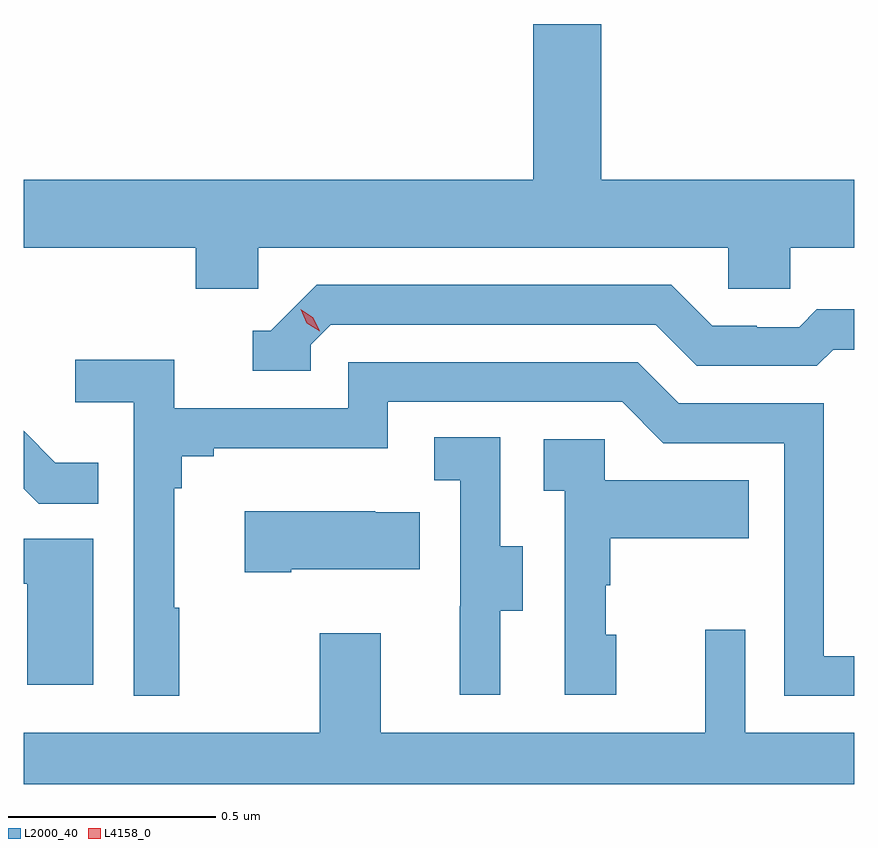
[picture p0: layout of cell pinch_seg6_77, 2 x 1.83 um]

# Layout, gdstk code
import gdstk
lib = gdstk.Library(unit=1e-6, precision=1e-09)
def P(c, l, *ps):  # polygons
    for p in ps: c.add(gdstk.Polygon(p, *l))
L2000_40 = (2000, 40)
L4158_0 = (4158, 0)

pinch_seg6_77 = lib.new_cell('pinch_seg6_77')
P(pinch_seg6_77, L2000_40, [(931.578,930.02),(932.709,930.02),(932.709,929.922),(932.859,929.922),(932.859,930.02),(933.013,930.02),(933.013,930.184),(932.404,930.184),(932.404,930.559),(932.24,930.559),(932.24,930.184),(931.013,930.184),(931.013,930.02),(931.427,930.02),(931.427,929.922),(931.578,929.922)],
  [(931.704,929.787),(931.752,929.835),(932.535,929.835),(932.634,929.736),(932.923,929.736),(932.962,929.775),(933.013,929.775),(933.013,929.872),(932.923,929.872),(932.881,929.829),(932.778,929.829),(932.778,929.832),(932.671,929.832),(932.572,929.931),(931.719,929.931),(931.608,929.82),(931.565,929.82),(931.565,929.724),(931.704,929.724)],
  [(931.387,929.153),(931.375,929.153),(931.375,929.441),(931.394,929.441),(931.394,929.518),(931.471,929.518),(931.471,929.537),(931.89,929.537),(931.89,929.649),(932.454,929.649),(932.553,929.55),(932.844,929.55),(932.844,928.941),(933.013,928.941),(933.013,929.037),(932.94,929.037),(932.94,929.646),(932.59,929.646),(932.491,929.745),(931.794,929.745),(931.794,929.634),(931.376,929.634),(931.376,929.75),(931.137,929.75),(931.137,929.648),(931.278,929.648),(931.278,928.941),(931.387,928.941)],
  [(931.193,929.503),(931.089,929.503),(931.013,929.579),(931.013,929.44),(931.049,929.404),(931.193,929.404)],
  [(932.161,929.146),(932.215,929.146),(932.215,929.301),(932.16,929.301),(932.16,929.564),(932.001,929.564),(932.001,929.461),(932.064,929.461),(932.064,929.157),(932.063,929.157),(932.063,928.944),(932.161,928.944)],
  [(932.44,929.088),(932.415,929.088),(932.415,929.207),(932.425,929.207),(932.425,929.321),(932.759,929.321),(932.759,929.461),(932.412,929.461),(932.412,929.559),(932.265,929.559),(932.265,929.435),(932.316,929.435),(932.316,928.944),(932.44,928.944)],
  [(931.657,929.246),(931.967,929.246),(931.967,929.383),(931.859,929.383),(931.859,929.386),(931.545,929.386),(931.545,929.239),(931.657,929.239)],
  [(931.18,929.319),(931.013,929.319),(931.013,929.211),(931.022,929.211),(931.022,928.968),(931.18,928.968)],
  [(933.013,928.852),(932.751,928.852),(932.751,929.101),(932.654,929.101),(932.654,928.852),(931.873,928.852),(931.873,929.092),(931.726,929.092),(931.726,928.852),(931.013,928.852),(931.013,928.729),(933.013,928.729)])
P(pinch_seg6_77, L4158_0, [(931.726,929.819),(931.695,929.839),(931.68,929.872),(931.68,929.872),(931.68,929.872),(931.71,929.852),(931.726,929.82),(931.726,929.819)])

lib.write_gds('pinch_seg6_77.gds')
